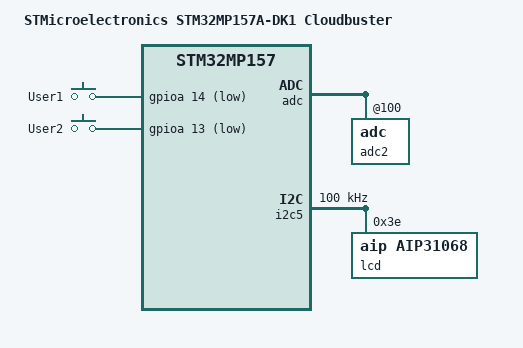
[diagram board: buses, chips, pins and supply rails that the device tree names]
// SPDX-License-Identifier: (GPL-2.0+ OR BSD-3-Clause)
/*
 * Cloudbuster custom device tree for STM32MP157A-DK1
 */
/dts-v1/;
#include "stm32mp157a-dk1.dts"

/ {
	model = "STMicroelectronics STM32MP157A-DK1 Cloudbuster";
	compatible = "st,stm32mp157a-dk1-cloudbuster", "st,stm32mp157a-dk1", "st,stm32mp157";

	gpio-keys {
		compatible = "gpio-keys";

		button-user1 {
			label = "User1";
			gpios = <&gpioa 14 1>;
			linux,code = <407>;
			wakeup-source;
		};

		button-user2 {
			label = "User2";
			gpios = <&gpioa 13 1>;
			linux,code = <412>;
			wakeup-source;
		};
	};
};

&adc {
	pinctrl-0 = <&adc12_usb_cc_pins_a>, <&adc12_ain_pins_a>;

	adc2: adc@100 {
		channel@6 {
			reg = <6>;
			st,min-sample-time-ns = <5000>;
		};
	};
};

&i2c5 {
    pinctrl-names = "default", "sleep";
    pinctrl-0 = <&i2c5_pins_a>;
    pinctrl-1 = <&i2c5_sleep_pins_a>;
    i2c-scl-rising-time-ns = <185>;
    i2c-scl-falling-time-ns = <20>;
    clock-frequency = <100000>;
    status = "okay";

    lcd: lcd@3e {
        compatible = "aip,aip31068";
        reg = <0x3e>;
        display-height-chars = <2>;
        display-width-chars = <16>;
    };
};
